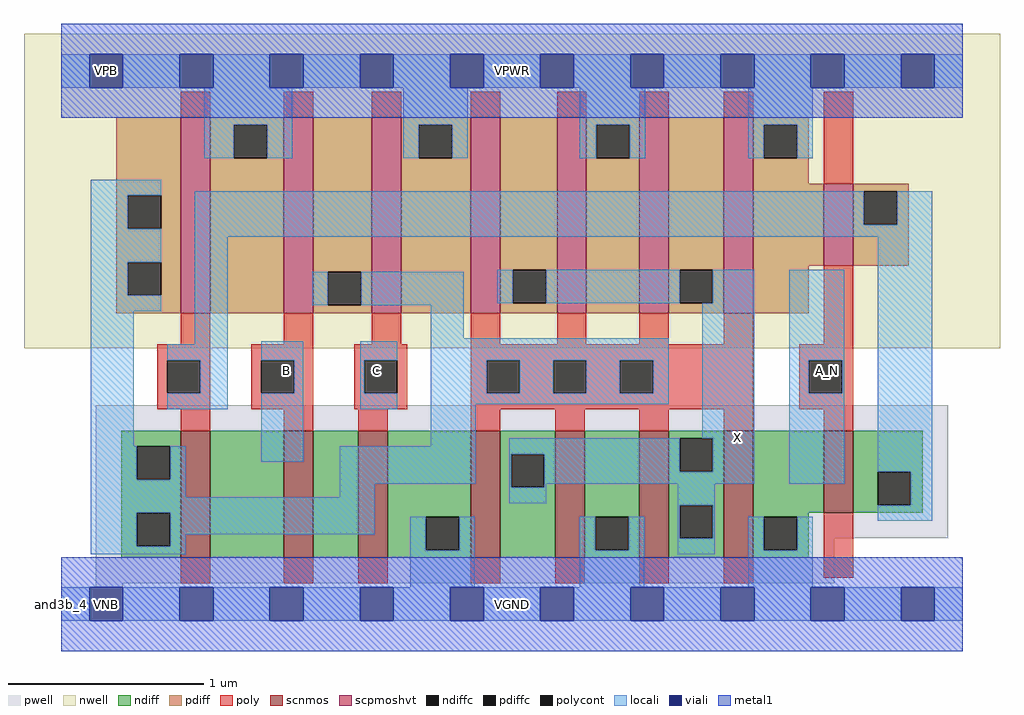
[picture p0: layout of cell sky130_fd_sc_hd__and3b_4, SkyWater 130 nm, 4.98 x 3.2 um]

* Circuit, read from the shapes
.subckt sky130_fd_sc_hd__and3b_4 A_N B C VGND VNB VPB VPWR X
XM1 n1 n2 n3 VNB sky130_fd_pr__nfet_01v8 w=0.65 l=0.15
XM2 n4 B n1 VNB sky130_fd_pr__nfet_01v8 w=0.65 l=0.15
XM3 VGND C n4 VNB sky130_fd_pr__nfet_01v8 w=0.65 l=0.15
XM4 X n3 VGND VNB sky130_fd_pr__nfet_01v8 w=0.65 l=0.15 m=4
XM5 n2 A_N VGND VNB sky130_fd_pr__nfet_01v8 w=0.42 l=0.15
XM6 VPWR n2 n3 VPB sky130_fd_pr__pfet_01v8_hvt w=1 l=0.15
XM7 n3 B VPWR VPB sky130_fd_pr__pfet_01v8_hvt w=1 l=0.15
XM8 VPWR C n3 VPB sky130_fd_pr__pfet_01v8_hvt w=1 l=0.15
XM9 X n3 VPWR VPB sky130_fd_pr__pfet_01v8_hvt w=1 l=0.15 m=4
XM10 n2 A_N VPWR VPB sky130_fd_pr__pfet_01v8_hvt w=0.42 l=0.15
.ends

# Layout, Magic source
magic
tech sky130A
magscale 1 2
<< nwell >>
rect -38 261 958 582
<< pwell >>
rect 35 67 905 203
rect 35 21 789 67
rect 35 17 63 21
rect 29 -17 63 17
<< scnmos >>
rect 122 47 152 177
rect 227 47 257 177
rect 303 47 333 177
rect 418 47 448 177
rect 504 47 534 177
rect 590 47 620 177
rect 676 47 706 177
rect 778 93 808 177
<< scpmoshvt >>
rect 122 297 152 497
rect 227 297 257 497
rect 317 297 347 497
rect 418 297 448 497
rect 506 297 536 497
rect 590 297 620 497
rect 676 297 706 497
rect 778 345 808 429
<< ndiff >>
rect 61 161 122 177
rect 61 127 77 161
rect 111 127 122 161
rect 61 93 122 127
rect 61 59 77 93
rect 111 59 122 93
rect 61 47 122 59
rect 152 47 227 177
rect 257 47 303 177
rect 333 89 418 177
rect 333 55 372 89
rect 406 55 418 89
rect 333 47 418 55
rect 448 153 504 177
rect 448 119 459 153
rect 493 119 504 153
rect 448 47 504 119
rect 534 89 590 177
rect 534 55 545 89
rect 579 55 590 89
rect 534 47 590 55
rect 620 169 676 177
rect 620 135 631 169
rect 665 135 676 169
rect 620 101 676 135
rect 620 67 631 101
rect 665 67 676 101
rect 620 47 676 67
rect 706 93 778 177
rect 808 135 879 177
rect 808 101 833 135
rect 867 101 879 135
rect 808 93 879 101
rect 706 89 763 93
rect 706 55 717 89
rect 751 55 763 89
rect 706 47 763 55
<< pdiff >>
rect 56 417 122 497
rect 56 383 68 417
rect 102 383 122 417
rect 56 349 122 383
rect 56 315 68 349
rect 102 315 122 349
rect 56 297 122 315
rect 152 489 227 497
rect 152 455 176 489
rect 210 455 227 489
rect 152 297 227 455
rect 257 339 317 497
rect 257 305 272 339
rect 306 305 317 339
rect 257 297 317 305
rect 347 489 418 497
rect 347 455 365 489
rect 399 455 418 489
rect 347 297 418 455
rect 448 341 506 497
rect 448 307 461 341
rect 495 307 506 341
rect 448 297 506 307
rect 536 489 590 497
rect 536 455 546 489
rect 580 455 590 489
rect 536 297 590 455
rect 620 341 676 497
rect 620 307 631 341
rect 665 307 676 341
rect 620 297 676 307
rect 706 489 763 497
rect 706 455 717 489
rect 751 455 763 489
rect 706 429 763 455
rect 706 345 778 429
rect 808 421 865 429
rect 808 387 819 421
rect 853 387 865 421
rect 808 345 865 387
rect 706 297 763 345
<< ndiffc >>
rect 77 127 111 161
rect 77 59 111 93
rect 372 55 406 89
rect 459 119 493 153
rect 545 55 579 89
rect 631 135 665 169
rect 631 67 665 101
rect 833 101 867 135
rect 717 55 751 89
<< pdiffc >>
rect 68 383 102 417
rect 68 315 102 349
rect 176 455 210 489
rect 272 305 306 339
rect 365 455 399 489
rect 461 307 495 341
rect 546 455 580 489
rect 631 307 665 341
rect 717 455 751 489
rect 819 387 853 421
<< poly >>
rect 122 497 152 523
rect 227 497 257 523
rect 317 497 347 523
rect 418 497 448 523
rect 506 497 536 523
rect 590 497 620 523
rect 676 497 706 523
rect 778 429 808 523
rect 122 265 152 297
rect 227 265 257 297
rect 317 265 347 297
rect 418 265 448 297
rect 506 265 536 297
rect 590 265 620 297
rect 676 265 706 297
rect 778 265 808 345
rect 98 249 152 265
rect 98 215 108 249
rect 142 215 152 249
rect 98 199 152 215
rect 194 249 257 265
rect 194 215 204 249
rect 238 215 257 249
rect 194 199 257 215
rect 299 249 353 265
rect 299 215 309 249
rect 343 215 353 249
rect 299 199 353 215
rect 418 249 706 265
rect 418 215 434 249
rect 468 215 502 249
rect 536 215 570 249
rect 604 215 706 249
rect 418 199 706 215
rect 753 249 808 265
rect 753 215 763 249
rect 797 215 808 249
rect 753 199 808 215
rect 122 177 152 199
rect 227 177 257 199
rect 303 177 333 199
rect 418 177 448 199
rect 504 177 534 199
rect 590 177 620 199
rect 676 177 706 199
rect 778 177 808 199
rect 122 21 152 47
rect 227 21 257 47
rect 303 21 333 47
rect 418 21 448 47
rect 504 21 534 47
rect 590 21 620 47
rect 676 21 706 47
rect 778 27 808 93
<< polycont >>
rect 108 215 142 249
rect 204 215 238 249
rect 309 215 343 249
rect 434 215 468 249
rect 502 215 536 249
rect 570 215 604 249
rect 763 215 797 249
<< locali >>
rect 0 527 29 561
rect 63 527 121 561
rect 155 527 213 561
rect 247 527 305 561
rect 339 527 397 561
rect 431 527 489 561
rect 523 527 581 561
rect 615 527 673 561
rect 707 527 765 561
rect 799 527 857 561
rect 891 527 920 561
rect 146 489 236 527
rect 146 455 176 489
rect 210 455 236 489
rect 349 489 415 527
rect 349 455 365 489
rect 399 455 415 489
rect 529 489 596 527
rect 529 455 546 489
rect 580 455 596 489
rect 701 489 767 527
rect 701 455 717 489
rect 751 455 767 489
rect 30 417 102 433
rect 30 383 68 417
rect 30 349 102 383
rect 30 315 68 349
rect 30 299 102 315
rect 136 387 819 421
rect 853 387 889 421
rect 136 375 889 387
rect 30 161 74 299
rect 136 265 170 375
rect 256 305 272 339
rect 306 305 411 339
rect 445 307 461 341
rect 495 307 631 341
rect 665 307 707 341
rect 377 271 411 305
rect 108 249 170 265
rect 142 215 170 249
rect 108 199 170 215
rect 204 249 247 268
rect 238 215 247 249
rect 30 127 77 161
rect 111 127 127 161
rect 204 145 247 215
rect 305 249 343 268
rect 305 215 309 249
rect 305 199 343 215
rect 377 249 620 271
rect 377 215 434 249
rect 468 215 502 249
rect 536 215 570 249
rect 604 215 620 249
rect 377 204 620 215
rect 377 161 423 204
rect 654 169 707 307
rect 30 109 127 127
rect 284 123 423 161
rect 457 153 631 169
rect 284 109 320 123
rect 30 93 320 109
rect 457 119 459 153
rect 493 135 631 153
rect 665 135 707 169
rect 493 123 707 135
rect 743 249 799 341
rect 743 215 763 249
rect 797 215 799 249
rect 743 123 799 215
rect 833 135 889 375
rect 493 119 495 123
rect 457 103 495 119
rect 30 59 77 93
rect 111 71 320 93
rect 629 101 667 123
rect 111 59 127 71
rect 30 51 127 59
rect 356 55 372 89
rect 406 55 422 89
rect 356 17 422 55
rect 529 55 545 89
rect 579 55 595 89
rect 529 17 595 55
rect 629 67 631 101
rect 665 67 667 101
rect 867 101 889 135
rect 629 51 667 67
rect 701 55 717 89
rect 751 55 767 89
rect 833 85 889 101
rect 701 17 767 55
rect 0 -17 29 17
rect 63 -17 121 17
rect 155 -17 213 17
rect 247 -17 305 17
rect 339 -17 397 17
rect 431 -17 489 17
rect 523 -17 581 17
rect 615 -17 673 17
rect 707 -17 765 17
rect 799 -17 857 17
rect 891 -17 920 17
<< viali >>
rect 29 527 63 561
rect 121 527 155 561
rect 213 527 247 561
rect 305 527 339 561
rect 397 527 431 561
rect 489 527 523 561
rect 581 527 615 561
rect 673 527 707 561
rect 765 527 799 561
rect 857 527 891 561
rect 29 -17 63 17
rect 121 -17 155 17
rect 213 -17 247 17
rect 305 -17 339 17
rect 397 -17 431 17
rect 489 -17 523 17
rect 581 -17 615 17
rect 673 -17 707 17
rect 765 -17 799 17
rect 857 -17 891 17
<< metal1 >>
rect 0 561 920 592
rect 0 527 29 561
rect 63 527 121 561
rect 155 527 213 561
rect 247 527 305 561
rect 339 527 397 561
rect 431 527 489 561
rect 523 527 581 561
rect 615 527 673 561
rect 707 527 765 561
rect 799 527 857 561
rect 891 527 920 561
rect 0 496 920 527
rect 0 17 920 48
rect 0 -17 29 17
rect 63 -17 121 17
rect 155 -17 213 17
rect 247 -17 305 17
rect 339 -17 397 17
rect 431 -17 489 17
rect 523 -17 581 17
rect 615 -17 673 17
rect 707 -17 765 17
rect 799 -17 857 17
rect 891 -17 920 17
rect 0 -48 920 -17
<< labels >>
flabel locali s 765 221 799 255 0 FreeSans 340 0 0 0 A_N
port 1 nsew signal input
flabel locali s 673 153 707 187 0 FreeSans 340 0 0 0 X
port 8 nsew signal output
flabel locali s 305 221 339 255 0 FreeSans 340 0 0 0 C
port 3 nsew signal input
flabel locali s 213 221 247 255 0 FreeSans 340 0 0 0 B
port 2 nsew signal input
flabel pwell s 29 -17 63 17 0 FreeSans 200 0 0 0 VNB
port 5 nsew ground bidirectional
flabel nwell s 29 527 63 561 0 FreeSans 200 0 0 0 VPB
port 6 nsew power bidirectional
flabel metal1 s 29 -17 63 17 0 FreeSans 200 0 0 0 VGND
port 4 nsew ground bidirectional abutment
flabel metal1 s 29 527 63 561 0 FreeSans 200 0 0 0 VPWR
port 7 nsew power bidirectional abutment
rlabel comment s 0 0 0 0 4 and3b_4
rlabel metal1 s 0 -48 920 48 1 VGND
port 4 nsew ground bidirectional abutment
rlabel metal1 s 0 496 920 592 1 VPWR
port 7 nsew power bidirectional abutment
<< properties >>
string FIXED_BBOX 0 0 920 544
string GDS_END 3878526
string GDS_FILE $PDKPATH/libs.ref/sky130_fd_sc_hd/gds/sky130_fd_sc_hd.gds
string GDS_START 3871942
string LEFclass CORE
string LEFsite unithd
string LEFsymmetry X Y R90
string path 0.000 0.000 23.000 0.000 
<< end >>
